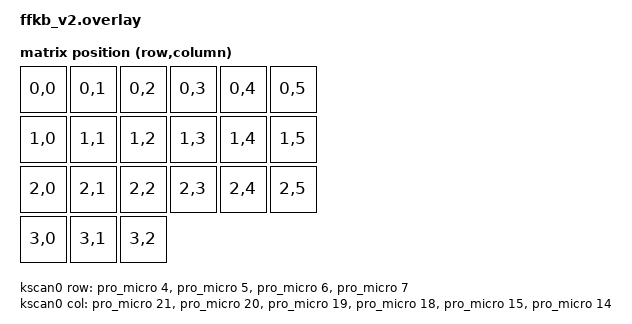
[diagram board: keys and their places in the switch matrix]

/*
 * Copyright (c) 2021 The ZMK Contributors
 *
 * SPDX-License-Identifier: MIT
 */

#include <dt-bindings/zmk/matrix_transform.h>

/ {
    kscan0: kscan_0 {
        col-gpios
            = <&pro_micro 21 GPIO_ACTIVE_HIGH> // col 0
            , <&pro_micro 20 GPIO_ACTIVE_HIGH> // col 1
            , <&pro_micro 19 GPIO_ACTIVE_HIGH> // col 2
            , <&pro_micro 18 GPIO_ACTIVE_HIGH> // col 3
            , <&pro_micro 15 GPIO_ACTIVE_HIGH> // col 4
            , <&pro_micro 14 GPIO_ACTIVE_HIGH> // col 5
            ;

        row-gpios
            = <&pro_micro 4 (GPIO_ACTIVE_HIGH | GPIO_PULL_DOWN)> // row 0
            , <&pro_micro 5 (GPIO_ACTIVE_HIGH | GPIO_PULL_DOWN)> // row 1
            , <&pro_micro 6 (GPIO_ACTIVE_HIGH | GPIO_PULL_DOWN)> // row 2
            , <&pro_micro 7 (GPIO_ACTIVE_HIGH | GPIO_PULL_DOWN)> // row 3
            ;
    };

    default_transform: keymap_transform_0 {
        columns = <6>;
        rows = <4>;
        diode-direction = "col2row";

        map = <
                RC(0,0) RC(0,1) RC(0,2) RC(0,3) RC(0,4) RC(0,5) 
                RC(1,0) RC(1,1) RC(1,2) RC(1,3) RC(1,4) RC(1,5) 
                RC(2,0) RC(2,1) RC(2,2) RC(2,3) RC(2,4) RC(2,5) 
                RC(3,0) RC(3,1) RC(3,2) 
        >;
    };
};

// In this case, we added a cirque trackpad using the pro micro position i2c pins and a hand wired data ready pin
&pro_micro_i2c {
    status = "okay";
    
    glidepoint: glidepoint@2a {
        compatible = "cirque,pinnacle";
        reg = <0x2a>;
        status = "okay";
        // The aforementioned LED data pin that we're not using, hand wired to cirque DR
        dr-gpios = <&gpio0 15 (GPIO_ACTIVE_HIGH)>;

        sensitivity = "4x";
        sleep;
        no-taps;
    };
};

/ {
    glidepoint_input {
        compatible = "zmk,input-listener";
        device = <&glidepoint>;

        xy-swap;
        y-invert;
        x-invert;
    };
};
